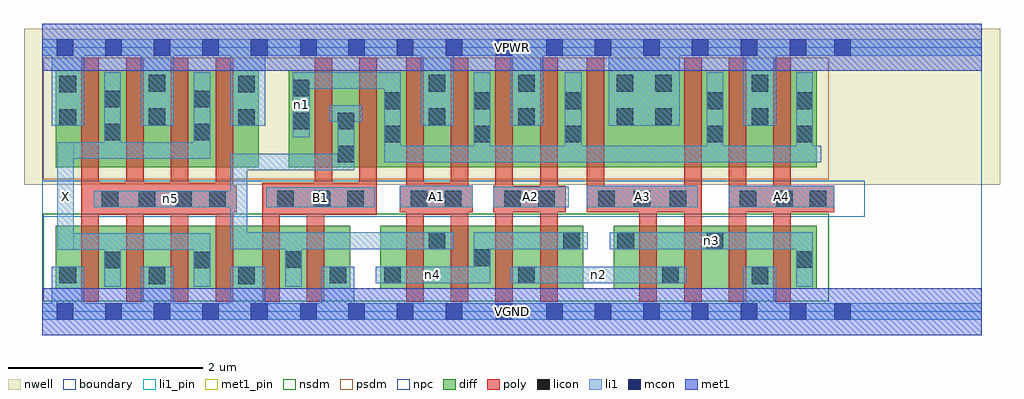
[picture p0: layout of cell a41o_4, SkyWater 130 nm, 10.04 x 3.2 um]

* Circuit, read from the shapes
.subckt a41o_4 A1 A2 A3 A4 B1 VGND VPWR X n1 n2 n3 n4 n5
XM1 X n5 VGND VSUBS sky130_fd_pr__nfet_01v8 w=0.65 l=0.18 m=4
XM2 n5 B1 VGND VSUBS sky130_fd_pr__nfet_01v8 w=0.65 l=0.18 m=2
XM3 n5 A1 n4 VSUBS sky130_fd_pr__nfet_01v8 w=0.65 l=0.18 m=2
XM4 n2 A2 n4 VSUBS sky130_fd_pr__nfet_01v8 w=0.65 l=0.18 m=2
XM5 n2 A3 n3 VSUBS sky130_fd_pr__nfet_01v8 w=0.65 l=0.18 m=2
XM6 VGND A4 n3 VSUBS sky130_fd_pr__nfet_01v8 w=0.65 l=0.18 m=2
XM7 X n5 VPWR n6 sky130_fd_pr__pfet_01v8 w=1 l=0.18 m=4
XM8 n5 B1 n1 n6 sky130_fd_pr__pfet_01v8 w=1 l=0.18 m=2
XM9 VPWR A1 n1 n6 sky130_fd_pr__pfet_01v8 w=1 l=0.18 m=2
XM10 VPWR A2 n1 n6 sky130_fd_pr__pfet_01v8 w=1 l=0.18 m=2
XM11 VPWR A3 n1 n6 sky130_fd_pr__pfet_01v8 w=1 l=0.18 m=2
XM12 VPWR A4 n1 n6 sky130_fd_pr__pfet_01v8 w=1 l=0.18 m=2
.ends

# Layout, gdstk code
import gdstk
lib = gdstk.Library(unit=1e-6, precision=1e-09)
def R(c, l, rs):  # rectangles x0, y0, x1, y1
    for r in rs: c.add(gdstk.rectangle(r[:2], r[2:], *l))
def A(c, l, x, y, w, h, nx, ny, dx, dy):  # array of equal rectangles
    R(c, l, [(x+i*dx, y+j*dy, x+i*dx+w, y+j*dy+h) for i in range(nx) for j in range(ny)])
nwell = (64, 20)
diff = (65, 20)
poly = (66, 20)
licon = (66, 44)
li1_pin = (67, 16)
li1 = (67, 20)
mcon = (67, 44)
met1_pin = (68, 16)
met1 = (68, 20)
nsdm = (93, 44)
psdm = (94, 20)
npc = (95, 20)
boundary = (235, 4)

a41o_4 = lib.new_cell('a41o_4')
R(a41o_4, nwell, [(-0.19,1.305,9.85,2.91), (0,1.305,9.66,2.91)])
R(a41o_4, diff, [(0.135,0.235,3.165,0.885), (3.475,0.235,5.565,0.885), (5.875,0.235,7.965,0.885), (0.135,1.485,2.225,2.485), (2.535,1.485,7.965,2.485)])
A(a41o_4, poly, 0.4, 0.105, 0.18, 2.51, 4, 1, 0.46, 0)
A(a41o_4, poly, 3.74, 0.105, 0.18, 2.51, 4, 1, 0.46, 0)
A(a41o_4, poly, 6.6, 0.105, 0.18, 2.51, 3, 1, 0.46, 0)
R(a41o_4, poly, [(2.26,0.105,2.44,1.325), (2.72,0.105,2.9,1.325), (6.14,0.105,6.32,1.295), (0.4,0.995,1.96,1.325), (2.26,0.995,3.44,1.325), (2.8,0.995,2.98,2.615), (3.26,0.995,3.44,2.615), (3.74,0.995,4.38,1.325), (0.4,1.025,2,1.295), (3.675,1.025,4.425,1.295), (4.635,1.025,5.385,1.295), (5.6,1.025,6.78,1.295), (5.6,1.025,5.78,2.615), (7.06,1.025,8.145,1.295)])
R(a41o_4, licon, [(1.095,0.285,1.265,0.455), (2.015,0.285,2.185,0.455), (7.295,0.285,7.465,0.455), (0.175,0.295,0.345,0.465), (2.955,0.295,3.125,0.465), (3.515,0.295,3.685,0.465), (4.895,0.295,5.065,0.465), (6.375,0.295,6.545,0.465), (0.635,0.445,0.805,0.615), (1.555,0.445,1.725,0.615), (2.495,0.45,2.665,0.62), (7.755,0.45,7.925,0.62), (4.435,0.47,4.605,0.64), (3.975,0.645,4.145,0.815), (5.355,0.645,5.525,0.815), (5.915,0.645,6.085,0.815), (6.835,0.645,7.005,0.815), (0.61,1.075,0.78,1.245), (0.99,1.075,1.16,1.245), (1.365,1.075,1.535,1.245), (1.715,1.075,1.885,1.245), (2.415,1.075,2.585,1.245), (2.79,1.075,2.96,1.245), (3.135,1.075,3.305,1.245), (3.79,1.075,3.96,1.245), (4.14,1.075,4.31,1.245), (4.75,1.075,4.92,1.245), (5.1,1.075,5.27,1.245), (5.715,1.075,5.885,1.245), (6.08,1.075,6.25,1.245), (6.455,1.075,6.625,1.245), (7.175,1.075,7.345,1.245), (7.55,1.075,7.72,1.245), (7.895,1.075,8.065,1.245), (3.035,1.535,3.205,1.705), (3.515,1.745,3.685,1.915), (4.435,1.745,4.605,1.915), (5.375,1.745,5.545,1.915), (6.835,1.745,7.005,1.915), (7.755,1.745,7.925,1.915), (0.635,1.765,0.805,1.935), (1.555,1.765,1.725,1.935), (2.575,1.875,2.745,2.045), (3.035,1.875,3.205,2.045), (0.175,1.915,0.345,2.085), (2.015,1.915,2.185,2.085), (1.095,1.925,1.265,2.095), (3.975,1.925,4.145,2.095), (4.895,1.925,5.065,2.095), (5.905,1.925,6.075,2.095), (6.305,1.925,6.475,2.095), (7.295,1.925,7.465,2.095), (3.515,2.085,3.685,2.255), (4.435,2.085,4.605,2.255), (5.375,2.085,5.545,2.255), (6.835,2.085,7.005,2.255), (7.755,2.085,7.925,2.255), (0.635,2.105,0.805,2.275), (1.555,2.105,1.725,2.275), (2.575,2.215,2.745,2.385), (0.175,2.255,0.345,2.425), (2.015,2.255,2.185,2.425), (1.095,2.265,1.265,2.435), (3.975,2.265,4.145,2.435), (4.895,2.265,5.065,2.435), (5.905,2.265,6.075,2.435), (6.305,2.265,6.475,2.435), (7.295,2.265,7.465,2.435)])
R(a41o_4, li1_pin, [(0.15,0.635,0.32,1.745), (2.3,1.075,3.42,1.28), (3.675,1.075,4.425,1.295), (4.635,1.075,5.415,1.285), (5.6,1.075,6.74,1.295), (7.06,1.075,8.145,1.295)])
R(a41o_4, li1, [(0,-0.085,9.66,0.085), (0.095,-0.085,0.43,0.465), (1.01,-0.085,1.35,0.465), (1.93,-0.085,2.29,0.465), (2.87,-0.085,3.205,0.465), (7.21,-0.085,7.55,0.465), (0.635,0.255,0.805,0.805), (1.555,0.255,1.725,0.805), (2.495,0.255,2.665,0.815), (7.755,0.255,7.925,0.815), (3.43,0.295,4.605,0.465), (4.435,0.295,4.605,0.815), (4.81,0.295,6.63,0.465), (0.15,0.635,1.725,0.805), (0.15,0.635,0.32,1.745), (1.93,0.645,4.23,0.815), (1.93,0.645,2.105,1.625), (4.435,0.645,5.61,0.815), (5.835,0.645,7.925,0.815), (0.525,1.075,2.105,1.245), (2.3,1.075,3.42,1.28), (3.675,1.075,4.425,1.295), (4.635,1.075,5.415,1.285), (5.6,1.075,6.74,1.295), (7.06,1.075,8.145,1.295), (1.93,1.455,3.205,1.625), (3.035,1.455,3.205,2.125), (3.515,1.535,8.01,1.705), (3.515,1.535,3.685,2.465), (4.435,1.535,4.605,2.465), (5.375,1.535,5.545,2.465), (6.835,1.535,7.005,2.465), (7.755,1.535,7.925,2.465), (0.15,1.575,1.725,1.745), (0.635,1.575,0.805,2.465), (1.555,1.575,1.725,2.465), (2.575,1.795,2.75,2.465), (0.095,1.915,0.43,2.805), (1.01,1.915,1.35,2.805), (1.93,1.915,2.29,2.805), (3.89,1.915,4.23,2.805), (4.81,1.915,5.15,2.805), (5.825,1.915,6.555,2.805), (7.21,1.915,7.55,2.805), (2.95,1.955,3.29,2.125), (2.575,2.295,3.685,2.465), (0,2.635,9.66,2.805)])
A(a41o_4, mcon, 0.145, -0.085, 0.17, 0.17, 5, 2, 0.5, 2.72)
A(a41o_4, mcon, 4.15, -0.085, 0.17, 0.17, 3, 2, 0.515, 2.72)
A(a41o_4, mcon, 5.68, -0.085, 0.17, 0.17, 3, 2, 0.5, 2.72)
R(a41o_4, mcon, [(2.65,-0.085,2.82,0.085), (3.145,-0.085,3.315,0.085), (3.645,-0.085,3.815,0.085), (7.185,-0.085,7.355,0.085), (7.685,-0.085,7.855,0.085), (8.145,-0.085,8.315,0.085), (2.65,2.635,2.82,2.805), (3.145,2.635,3.315,2.805), (3.645,2.635,3.815,2.805), (7.185,2.635,7.355,2.805), (7.685,2.635,7.855,2.805), (8.145,2.635,8.315,2.805)])
R(a41o_4, met1_pin, [(0,-0.24,9.66,0.24), (0,2.48,9.66,2.96)])
R(a41o_4, met1, [(0,-0.24,9.66,0.24), (0,2.48,9.66,2.96)])
R(a41o_4, nsdm, [(0.01,0.11,8.09,1.01)])
R(a41o_4, psdm, [(0.01,1.36,8.09,2.61)])
R(a41o_4, npc, [(0,0.975,8.46,1.345)])
R(a41o_4, boundary, [(0,0,9.66,2.72)])
a41o_4.add(gdstk.Label('A1', (4.05,1.185), layer=67, texttype=5))
a41o_4.add(gdstk.Label('A2', (5.025,1.18), layer=67, texttype=5))
a41o_4.add(gdstk.Label('A3', (6.17,1.185), layer=67, texttype=5))
a41o_4.add(gdstk.Label('A4', (7.602,1.185), layer=67, texttype=5))
a41o_4.add(gdstk.Label('B1', (2.86,1.177), layer=67, texttype=5))
a41o_4.add(gdstk.Label('X', (0.235,1.19), layer=67, texttype=5))
a41o_4.add(gdstk.Label('n2', (5.72,0.38), layer=67, texttype=5))
a41o_4.add(gdstk.Label('n4', (4.017,0.38), layer=67, texttype=5))
a41o_4.add(gdstk.Label('n3', (6.88,0.73), layer=67, texttype=5))
a41o_4.add(gdstk.Label('n5', (1.315,1.16), layer=67, texttype=5))
a41o_4.add(gdstk.Label('n1', (2.662,2.13), layer=67, texttype=5))
a41o_4.add(gdstk.Label('VPWR', (4.83,2.72), layer=68, texttype=5))
a41o_4.add(gdstk.Label('VGND', (4.83,0), layer=68, texttype=5))
a41o_4.add(gdstk.Label('A1', (4.05,1.185), layer=67, texttype=16))
a41o_4.add(gdstk.Label('A2', (5.025,1.18), layer=67, texttype=16))
a41o_4.add(gdstk.Label('A3', (6.17,1.185), layer=67, texttype=16))
a41o_4.add(gdstk.Label('A4', (7.602,1.185), layer=67, texttype=16))
a41o_4.add(gdstk.Label('B1', (2.86,1.177), layer=67, texttype=16))
a41o_4.add(gdstk.Label('X', (0.235,1.19), layer=67, texttype=16))
a41o_4.add(gdstk.Label('VPWR', (4.83,2.72), layer=68, texttype=16))
a41o_4.add(gdstk.Label('VGND', (4.83,0), layer=68, texttype=16))

lib.write_gds('a41o_4.gds')
